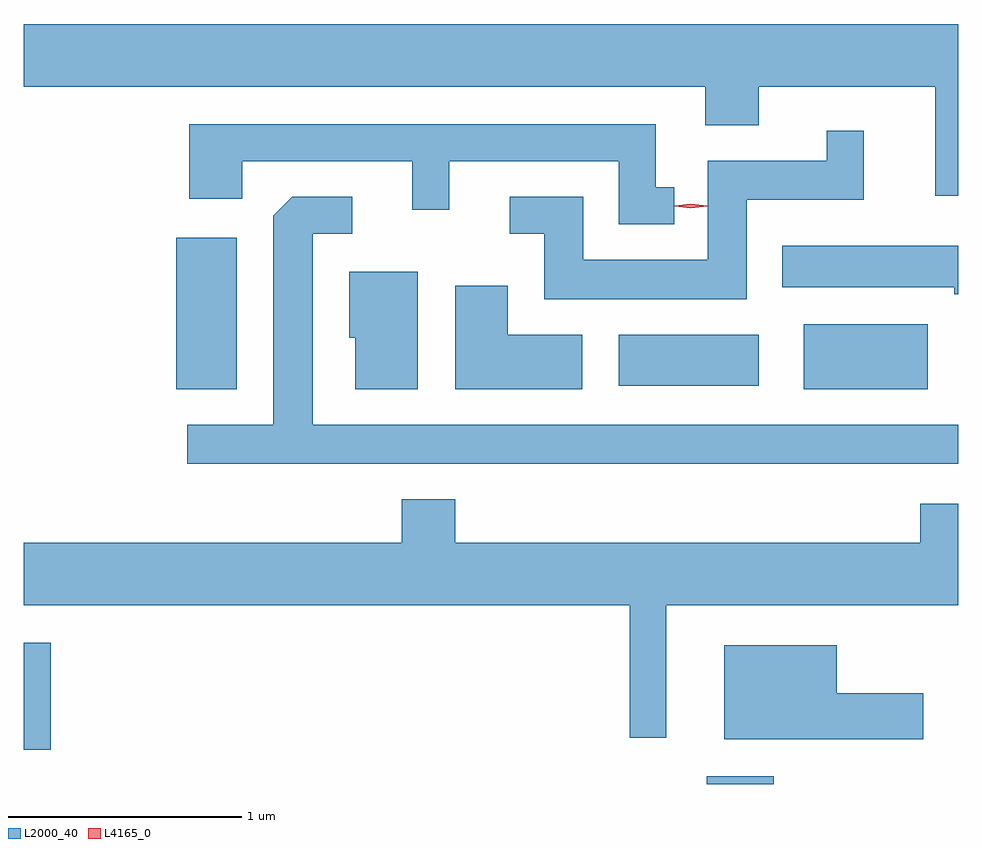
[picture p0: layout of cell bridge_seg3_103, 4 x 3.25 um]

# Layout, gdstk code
import gdstk
lib = gdstk.Library(unit=1e-6, precision=1e-09)
def R(c, l, rs):  # rectangles x0, y0, x1, y1
    for r in rs: c.add(gdstk.rectangle(r[:2], r[2:], *l))
def P(c, l, *ps):  # polygons
    for p in ps: c.add(gdstk.Polygon(p, *l))
L2000_40 = (2000, 40)
L4165_0 = (4165, 0)

bridge_seg3_103 = lib.new_cell('bridge_seg3_103')
R(bridge_seg3_103, L2000_40, [(948.656,1227.37,948.944,1227.404), (945.733,1227.516,945.849,1227.974), (946.386,1229.061,946.644,1229.709), (949.071,1229.061,949.604,1229.339), (948.281,1229.076,948.879,1229.294)])
P(bridge_seg3_103, L2000_40, [(949.733,1230.624),(945.733,1230.624),(945.733,1230.356),(948.651,1230.356),(948.651,1230.191),(948.879,1230.191),(948.879,1230.356),(949.636,1230.356),(949.636,1229.888),(949.733,1229.888)],
  [(948.518,1229.924),(948.439,1229.924),(948.439,1230.194),(946.441,1230.194),(946.441,1229.876),(946.669,1229.876),(946.669,1230.036),(947.396,1230.036),(947.396,1229.828),(947.554,1229.828),(947.554,1230.036),(948.281,1230.036),(948.281,1229.766),(948.518,1229.766)],
  [(948.829,1229.871),(949.329,1229.871),(949.329,1230.168),(949.171,1230.168),(949.171,1230.039),(948.661,1230.039),(948.661,1229.614),(948.129,1229.614),(948.129,1229.884),(947.813,1229.884),(947.813,1229.726),(947.961,1229.726),(947.961,1229.446),(948.829,1229.446)],
  [(949.733,1228.909),(946.969,1228.909),(946.969,1229.726),(947.138,1229.726),(947.138,1229.884),(946.882,1229.884),(946.801,1229.804),(946.801,1228.909),(946.433,1228.909),(946.433,1228.741),(949.733,1228.741)],
  [(949.733,1229.674),(948.981,1229.674),(948.981,1229.496),(949.716,1229.496),(949.716,1229.466),(949.733,1229.466)],
  [(947.419,1229.564),(947.126,1229.564),(947.126,1229.281),(947.151,1229.281),(947.151,1229.061),(947.419,1229.061)],
  [(948.124,1229.294),(947.804,1229.294),(947.804,1229.504),(947.581,1229.504),(947.581,1229.061),(948.124,1229.061)],
  [(948.484,1228.136),(949.733,1228.136),(949.733,1228.569),(949.571,1228.569),(949.571,1228.404),(947.579,1228.404),(947.579,1228.589),(947.351,1228.589),(947.351,1228.404),(945.733,1228.404),(945.733,1228.136),(948.326,1228.136),(948.326,1227.568),(948.484,1227.568)],
  [(949.584,1227.759),(949.214,1227.759),(949.214,1227.964),(948.731,1227.964),(948.731,1227.561),(949.584,1227.561)])
P(bridge_seg3_103, L4165_0, [(948.588,1229.835),(948.519,1229.844),(948.519,1229.845),(948.519,1229.846),(948.588,1229.855),(948.658,1229.845),(948.658,1229.844),(948.658,1229.844)])

lib.write_gds('bridge_seg3_103.gds')
